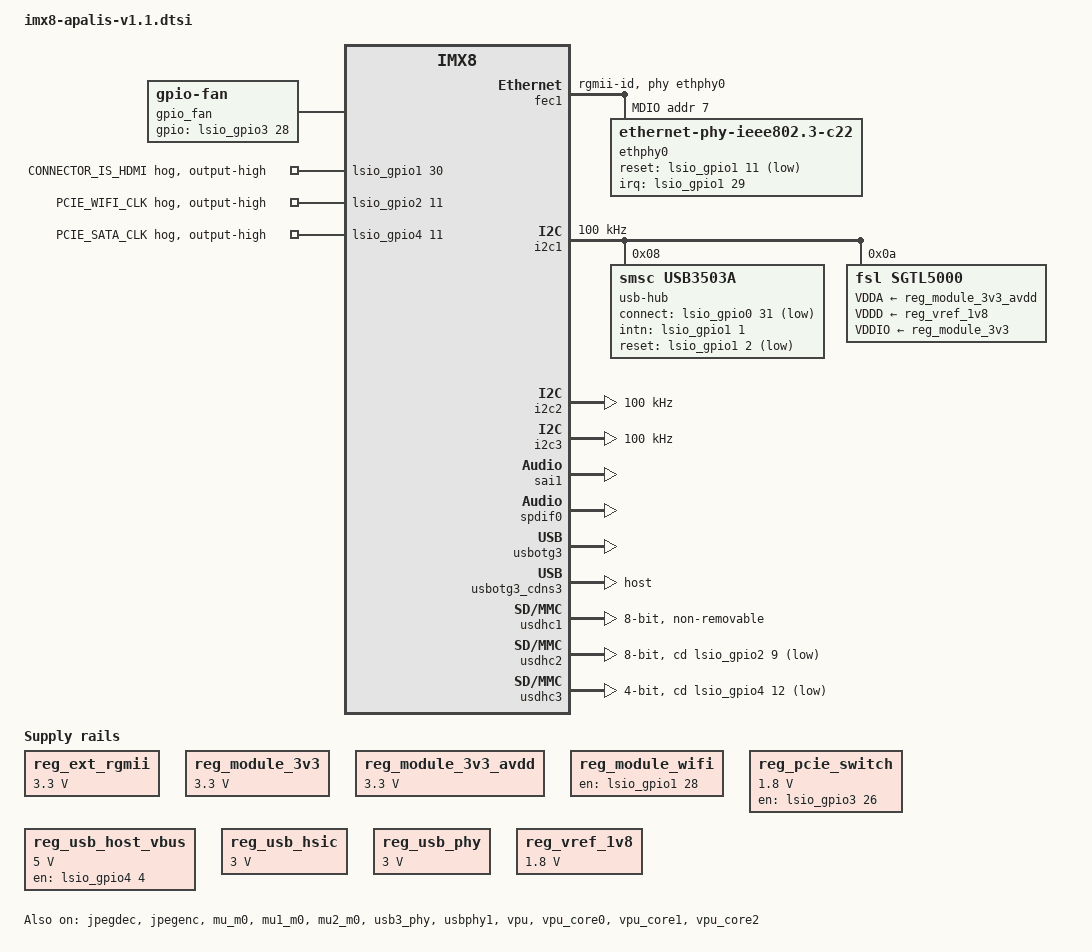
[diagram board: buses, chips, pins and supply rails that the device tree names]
// SPDX-License-Identifier: GPL-2.0-or-later OR MIT
/*
 * Copyright 2022 Toradex
 */

#include <dt-bindings/pwm/pwm.h>

/ {
	chosen {
		stdout-path = &lpuart1;
	};

	/* Apalis BKL1 */
	backlight: backlight {
		compatible = "pwm-backlight";
		pinctrl-names = "default";
		pinctrl-0 = <&pinctrl_gpio_bkl_on>;
		brightness-levels = <0 45 63 88 119 158 203 255>;
		default-brightness-level = <4>;
		enable-gpios = <&lsio_gpio1 4 GPIO_ACTIVE_HIGH>; /* Apalis BKL1_ON */
		/* TODO: hook-up to Apalis BKL1_PWM */
		status = "disabled";
	};

	gpio_fan: gpio-fan {
		compatible = "gpio-fan";
		pinctrl-names = "default";
		pinctrl-0 = <&pinctrl_gpio8>;
		gpios = <&lsio_gpio3 28 GPIO_ACTIVE_HIGH>;
		gpio-fan,speed-map = <	 0 0
				      3000 1>;
	};

	/* TODO: LVDS Panel */

	/* TODO: Shared PCIe/SATA Reference Clock */

	/* TODO: PCIe Wi-Fi Reference Clock */

	/*
	 * Power management bus used to control LDO1OUT of the
	 * second PMIC PF8100. This is used for controlling voltage levels of
	 * typespecific RGMII signals and Apalis UART2_RTS UART2_CTS.
	 *
	 * IMX_SC_R_BOARD_R1 for 3.3V
	 * IMX_SC_R_BOARD_R2 for 1.8V
	 * IMX_SC_R_BOARD_R3 for 2.5V
	 * Note that for 2.5V operation the pad muxing needs to be changed,
	 * compare with PSW_OVR field of IMX8QM_COMP_CTL_GPIO_1V8_3V3_ENET_ENETA_PAD.
	 *
	 * those power domains are mutually exclusive.
	 */
	reg_ext_rgmii: regulator-ext-rgmii {
		compatible = "regulator-fixed";
		power-domains = <&pd IMX_SC_R_BOARD_R1>;
		regulator-max-microvolt = <3300000>;
		regulator-min-microvolt = <3300000>;
		regulator-name = "VDD_EXT_RGMII (LDO1)";

		regulator-state-mem {
			regulator-off-in-suspend;
		};
	};

	reg_module_3v3: regulator-module-3v3 {
		compatible = "regulator-fixed";
		regulator-max-microvolt = <3300000>;
		regulator-min-microvolt = <3300000>;
		regulator-name = "+V3.3";
	};

	reg_module_3v3_avdd: regulator-module-3v3-avdd {
		compatible = "regulator-fixed";
		regulator-max-microvolt = <3300000>;
		regulator-min-microvolt = <3300000>;
		regulator-name = "+V3.3_AUDIO";
	};

	reg_module_wifi: regulator-module-wifi {
		compatible = "regulator-fixed";
		pinctrl-names = "default";
		pinctrl-0 = <&pinctrl_wifi_pdn>;
		gpio = <&lsio_gpio1 28 GPIO_ACTIVE_HIGH>;
		enable-active-high;
		regulator-always-on;
		regulator-name = "wifi_pwrdn_fake_regulator";
		regulator-settling-time-us = <100>;
	};

	reg_pcie_switch: regulator-pcie-switch {
		compatible = "regulator-fixed";
		pinctrl-names = "default";
		pinctrl-0 = <&pinctrl_gpio7>;
		gpio = <&lsio_gpio3 26 GPIO_ACTIVE_HIGH>;
		enable-active-high;
		regulator-max-microvolt = <1800000>;
		regulator-min-microvolt = <1800000>;
		regulator-name = "pcie_switch";
		startup-delay-us = <100000>;
	};

	reg_usb_host_vbus: regulator-usb-host-vbus {
		compatible = "regulator-fixed";
		pinctrl-names = "default";
		pinctrl-0 = <&pinctrl_usbh_en>;
		/* Apalis USBH_EN */
		gpio = <&lsio_gpio4 4 GPIO_ACTIVE_HIGH>;
		enable-active-high;
		regulator-always-on;
		regulator-max-microvolt = <5000000>;
		regulator-min-microvolt = <5000000>;
		regulator-name = "usb-host-vbus";
	};

	reg_usb_hsic: regulator-usb-hsic {
		compatible = "regulator-fixed";
		regulator-max-microvolt = <3000000>;
		regulator-min-microvolt = <3000000>;
		regulator-name = "usb-hsic-dummy";
	};

	reg_usb_phy: regulator-usb-hsic1 {
		compatible = "regulator-fixed";
		regulator-max-microvolt = <3000000>;
		regulator-min-microvolt = <3000000>;
		regulator-name = "usb-phy-dummy";
	};

	reg_vref_1v8: regulator-vref-1v8 {
		compatible = "regulator-fixed";
		regulator-name = "+V1.8";
		regulator-min-microvolt = <1800000>;
		regulator-max-microvolt = <1800000>;
	};

	reserved-memory {
		#address-cells = <2>;
		#size-cells = <2>;
		ranges;

		decoder_boot: decoder-boot@84000000 {
			reg = <0 0x84000000 0 0x2000000>;
			no-map;
		};

		encoder1_boot: encoder1-boot@86000000 {
			reg = <0 0x86000000 0 0x200000>;
			no-map;
		};

		encoder2_boot: encoder2-boot@86200000 {
			reg = <0 0x86200000 0 0x200000>;
			no-map;
		};

		/*
		 * reserved-memory layout
		 * 0x8800_0000 ~ 0x8FFF_FFFF is reserved for M4
		 * Shouldn't be used at A core and Linux side.
		 *
		 */
		m4_reserved: m4@88000000 {
			reg = <0 0x88000000 0 0x8000000>;
			no-map;
		};

		rpmsg_reserved: rpmsg@90200000 {
			reg = <0 0x90200000 0 0x200000>;
			no-map;
		};

		vdevbuffer: vdevbuffer@90400000 {
			compatible = "shared-dma-pool";
			reg = <0 0x90400000 0 0x100000>;
			no-map;
		};

		decoder_rpc: decoder-rpc@92000000 {
			reg = <0 0x92000000 0 0x200000>;
			no-map;
		};

		dsp_reserved: dsp@92400000 {
			reg = <0 0x92400000 0 0x2000000>;
			no-map;
		};

		encoder1_rpc: encoder1-rpc@94400000 {
			reg = <0 0x94400000 0 0x700000>;
			no-map;
		};

		encoder2_rpc: encoder2-rpc@94b00000 {
			reg = <0 0x94b00000 0 0x700000>;
			no-map;
		};

		/* global autoconfigured region for contiguous allocations */
		linux,cma {
			compatible = "shared-dma-pool";
			alloc-ranges = <0 0xc0000000 0 0x3c000000>;
			linux,cma-default;
			reusable;
			size = <0 0x3c000000>;
		};
	};

	sound {
		compatible = "simple-audio-card";
		simple-audio-card,bitclock-master = <&dailink_master>;
		simple-audio-card,format = "i2s";
		simple-audio-card,frame-master = <&dailink_master>;
		simple-audio-card,name = "apalis-imx8qm";

		simple-audio-card,cpu {
			sound-dai = <&sai1>;
		};

		dailink_master: simple-audio-card,codec {
			sound-dai = <&sgtl5000>;
		};
	};

	/* TODO: HDMI Audio */

	/* Apalis SPDIF1 */
	sound-spdif {
		compatible = "fsl,imx-audio-spdif";
		model = "imx-spdif";
		spdif-controller = <&spdif0>;
		spdif-in;
		spdif-out;
	};

	touchscreen: touchscreen {
		compatible = "toradex,vf50-touchscreen";
		interrupt-parent = <&lsio_gpio3>;
		interrupts = <22 IRQ_TYPE_LEVEL_LOW>;
		pinctrl-names = "idle", "default";
		pinctrl-0 = <&pinctrl_touchctrl_idle>, <&pinctrl_touchctrl_gpios>;
		pinctrl-1 = <&pinctrl_adc1>, <&pinctrl_touchctrl_gpios>;
		io-channels = <&adc1 2>, <&adc1 1>,
			      <&adc1 0>, <&adc1 3>;
		vf50-ts-min-pressure = <200>;
		xp-gpios = <&lsio_gpio2 4 GPIO_ACTIVE_LOW>;
		xm-gpios = <&lsio_gpio2 5 GPIO_ACTIVE_HIGH>;
		yp-gpios = <&lsio_gpio2 17 GPIO_ACTIVE_LOW>;
		ym-gpios = <&lsio_gpio2 21 GPIO_ACTIVE_HIGH>;
		/*
		 * NOTE: you must remove the pinctrl-adc1 from the adc1
		 * node below to use the touchscreen
		 */
		status = "disabled";
	};

};

&asrc0 {
	fsl,asrc-rate  = <48000>;
};

&adc0 {
	pinctrl-names = "default";
	pinctrl-0 = <&pinctrl_adc0>;
};

&adc1 {
	pinctrl-names = "default";
	pinctrl-0 = <&pinctrl_adc1>;
};

/* TODO: Asynchronous Sample Rate Converter (ASRC) */

&cpu_alert0 {
	temperature = <95000>;
};

&cpu_alert1 {
	temperature = <95000>;
};

&cpu_crit0 {
	temperature = <105000>;
};

&cpu_crit1 {
	temperature = <105000>;
};

&drc_alert0 {
	temperature = <95000>;
};

&drc_crit0 {
	temperature = <105000>;
};

/* Apalis ETH1 */
&fec1 {
	pinctrl-names = "default", "sleep";
	pinctrl-0 = <&pinctrl_fec1>;
	pinctrl-1 = <&pinctrl_fec1_sleep>;
	fsl,magic-packet;
	phy-handle = <&ethphy0>;
	phy-mode = "rgmii-id";

	mdio {
		#address-cells = <1>;
		#size-cells = <0>;

		ethphy0: ethernet-phy@7 {
			compatible = "ethernet-phy-ieee802.3-c22";
			reg = <7>;
			interrupt-parent = <&lsio_gpio1>;
			interrupts = <29 IRQ_TYPE_LEVEL_LOW>;
			micrel,led-mode = <0>;
			reset-assert-us = <2>;
			reset-deassert-us = <2>;
			reset-gpios = <&lsio_gpio1 11 GPIO_ACTIVE_LOW>;
		};
	};
};

/* Apalis CAN1 */
&flexcan1 {
	pinctrl-names = "default";
	pinctrl-0 = <&pinctrl_flexcan1>;
};

/* Apalis CAN2 */
&flexcan2 {
	pinctrl-names = "default";
	pinctrl-0 = <&pinctrl_flexcan2>;
};

/* Apalis CAN3 (optional) */
&flexcan3 {
	pinctrl-names = "default";
	pinctrl-0 = <&pinctrl_flexcan3>;
};

/* TODO: Apalis HDMI1 */

&gpu_alert0 {
	temperature = <95000>;
};

&gpu_alert1 {
	temperature = <95000>;
};

&gpu_crit0 {
	temperature = <105000>;
};

&gpu_crit1 {
	temperature = <105000>;
};

/* On-module I2C */
&i2c1 {
	pinctrl-names = "default";
	pinctrl-0 = <&pinctrl_lpi2c1>;
	#address-cells = <1>;
	#size-cells = <0>;
	clock-frequency = <100000>;
	status = "okay";

	/* USB3503A */
	usb-hub@8 {
		compatible = "smsc,usb3503a";
		reg = <0x08>;
		pinctrl-names = "default";
		pinctrl-0 = <&pinctrl_usb3503a>;
		connect-gpios = <&lsio_gpio0 31 GPIO_ACTIVE_LOW>;
		initial-mode = <1>;
		intn-gpios = <&lsio_gpio1 1 GPIO_ACTIVE_HIGH>;
		refclk-frequency = <25000000>;
		reset-gpios = <&lsio_gpio1 2 GPIO_ACTIVE_LOW>;
	};
	
	/* On Module Audio Codec */
	sgtl5000: audio-codec@a {
		compatible = "fsl,sgtl5000";
		reg = <0x0a>;
		assigned-clocks = <&clk IMX_SC_R_AUDIO_PLL_0 IMX_SC_PM_CLK_PLL>,
				  <&clk IMX_SC_R_AUDIO_PLL_0 IMX_SC_PM_CLK_SLV_BUS>,
				  <&clk IMX_SC_R_AUDIO_PLL_0 IMX_SC_PM_CLK_MST_BUS>,
				  <&mclkout0_lpcg IMX_LPCG_CLK_0>;
		assigned-clock-rates = <786432000>, <49152000>, <12288000>, <12288000>;
		clocks = <&mclkout0_lpcg IMX_LPCG_CLK_0>;
		pinctrl-names = "default";
		pinctrl-0 = <&pinctrl_sgtl5000>;
		#sound-dai-cells = <0>;
		VDDA-supply = <&reg_module_3v3_avdd>;
		VDDD-supply = <&reg_vref_1v8>;
		VDDIO-supply = <&reg_module_3v3>;
	};
};

/* Apalis I2C1 */
&i2c2 {
	pinctrl-names = "default";
	pinctrl-0 = <&pinctrl_lpi2c2>;
	#address-cells = <1>;
	#size-cells = <0>;
	clock-frequency = <100000>;

	atmel_mxt_ts: touch@4a {
		compatible = "atmel,maxtouch";
		reg = <0x4a>;
		interrupt-parent = <&lsio_gpio4>;
		interrupts = <1 IRQ_TYPE_EDGE_FALLING>;		/* Apalis GPIO5 */
		pinctrl-names = "default";
		pinctrl-0 = <&pinctrl_gpio5>, <&pinctrl_gpio6>;
		reset-gpios = <&lsio_gpio4 2 GPIO_ACTIVE_LOW>;	/* Apalis GPIO6 */
		status = "disabled";
	};

	/* M41T0M6 real time clock on carrier board */
	rtc_i2c: rtc@68 {
		compatible = "st,m41t0";
		reg = <0x68>;
		status = "disabled";
	};
};

/* Apalis I2C3 (CAM) */
&i2c3 {
	pinctrl-names = "default";
	pinctrl-0 = <&pinctrl_lpi2c3>;
	#address-cells = <1>;
	#size-cells = <0>;
	clock-frequency = <100000>;
};

&jpegdec {
	status = "okay";
};

&jpegenc {
	status = "okay";
};

/* TODO: Apalis LVDS1 */

/* Apalis SPI1 */
&lpspi0 {
	pinctrl-names = "default";
	pinctrl-0 = <&pinctrl_lpspi0>;
	#address-cells = <1>;
	#size-cells = <0>;
	cs-gpios = <&lsio_gpio3 5 GPIO_ACTIVE_LOW>;
};

/* Apalis SPI2 */
&lpspi2 {
	pinctrl-names = "default";
	pinctrl-0 = <&pinctrl_lpspi2>;
	#address-cells = <1>;
	#size-cells = <0>;
	cs-gpios = <&lsio_gpio3 10 GPIO_ACTIVE_LOW>;
};

/* Apalis UART3 */
&lpuart0 {
	pinctrl-names = "default";
	pinctrl-0 = <&pinctrl_lpuart0>;
};

/* Apalis UART1 */
&lpuart1 {
	pinctrl-names = "default";
	pinctrl-0 = <&pinctrl_lpuart1>;
};

/* Apalis UART4 */
&lpuart2 {
	pinctrl-names = "default";
	pinctrl-0 = <&pinctrl_lpuart2>;
};

/* Apalis UART2 */
&lpuart3 {
	pinctrl-names = "default";
	pinctrl-0 = <&pinctrl_lpuart3>;
};

&lsio_gpio0 {
	gpio-line-names = "MXM3_279",
			  "MXM3_277",
			  "MXM3_135",
			  "MXM3_203",
			  "MXM3_201",
			  "MXM3_275",
			  "MXM3_110",
			  "MXM3_120",
			  "MXM3_1/GPIO1",
			  "MXM3_3/GPIO2",
			  "MXM3_124",
			  "MXM3_122",
			  "MXM3_5/GPIO3",
			  "MXM3_7/GPIO4",
			  "",
			  "",
			  "MXM3_4",
			  "MXM3_211",
			  "MXM3_209",
			  "MXM3_2",
			  "MXM3_136",
			  "MXM3_134",
			  "MXM3_6",
			  "MXM3_8",
			  "MXM3_112",
			  "MXM3_118",
			  "MXM3_114",
			  "MXM3_116";
};

&lsio_gpio1 {
	gpio-line-names = "",
			  "",
			  "",
			  "",
			  "MXM3_286",
			  "",
			  "MXM3_87",
			  "MXM3_99",
			  "MXM3_138",
			  "MXM3_140",
			  "MXM3_239",
			  "",
			  "MXM3_281",
			  "MXM3_283",
			  "MXM3_126",
			  "MXM3_132",
			  "",
			  "",
			  "",
			  "",
			  "MXM3_173",
			  "MXM3_175",
			  "MXM3_123";

	hdmi-ctrl-hog {
		pinctrl-names = "default";
		pinctrl-0 = <&pinctrl_hdmi_ctrl>;
		gpio-hog;
		gpios = <30 GPIO_ACTIVE_HIGH>;
		line-name = "CONNECTOR_IS_HDMI";
		/* Set signals depending on HDP device type, 0 DP, 1 HDMI */
		output-high;
	};
};

&lsio_gpio2 {
	gpio-line-names = "",
			  "",
			  "",
			  "",
			  "",
			  "",
			  "",
			  "MXM3_198",
			  "MXM3_35",
			  "MXM3_164",
			  "",
			  "",
			  "",
			  "",
			  "MXM3_217",
			  "MXM3_215",
			  "",
			  "",
			  "MXM3_193",
			  "MXM3_194",
			  "MXM3_37",
			  "",
			  "MXM3_271",
			  "MXM3_273",
			  "MXM3_195",
			  "MXM3_197",
			  "MXM3_177",
			  "MXM3_179",
			  "MXM3_181",
			  "MXM3_183",
			  "MXM3_185",
			  "MXM3_187";

	pcie-wifi-hog {
		pinctrl-names = "default";
		pinctrl-0 = <&pinctrl_pcie_wifi_refclk>;
		gpio-hog;
		gpios = <11 GPIO_ACTIVE_HIGH>;
		line-name = "PCIE_WIFI_CLK";
		output-high;
	};
};

&lsio_gpio3 {
	gpio-line-names = "MXM3_191",
			  "",
			  "MXM3_221",
			  "MXM3_225",
			  "MXM3_223",
			  "MXM3_227",
			  "MXM3_200",
			  "MXM3_235",
			  "MXM3_231",
			  "MXM3_229",
			  "MXM3_233",
			  "MXM3_204",
			  "MXM3_196",
			  "",
			  "MXM3_202",
			  "",
			  "",
			  "",
			  "MXM3_305",
			  "MXM3_307",
			  "MXM3_309",
			  "MXM3_311",
			  "MXM3_315",
			  "MXM3_317",
			  "MXM3_319",
			  "MXM3_321",
			  "MXM3_15/GPIO7",
			  "MXM3_63",
			  "MXM3_17/GPIO8",
			  "MXM3_12",
			  "MXM3_14",
			  "MXM3_16";
};

&lsio_gpio4 {
	gpio-line-names = "MXM3_18",
			  "MXM3_11/GPIO5",
			  "MXM3_13/GPIO6",
			  "MXM3_274",
			  "MXM3_84",
			  "MXM3_262",
			  "MXM3_96",
			  "",
			  "",
			  "",
			  "",
			  "",
			  "MXM3_190",
			  "",
			  "",
			  "",
			  "MXM3_269",
			  "MXM3_251",
			  "MXM3_253",
			  "MXM3_295",
			  "MXM3_299",
			  "MXM3_301",
			  "MXM3_297",
			  "MXM3_293",
			  "MXM3_291",
			  "MXM3_289",
			  "MXM3_287";

	/* Enable pcie root / sata ref clock unconditionally */
	pcie-sata-hog {
		pinctrl-names = "default";
		pinctrl-0 = <&pinctrl_pcie_sata_refclk>;
		gpio-hog;
		gpios = <11 GPIO_ACTIVE_HIGH>;
		line-name = "PCIE_SATA_CLK";
		output-high;
	};
};

&lsio_gpio5 {
	gpio-line-names = "",
			  "",
			  "",
			  "",
			  "",
			  "",
			  "",
			  "",
			  "",
			  "",
			  "",
			  "",
			  "",
			  "",
			  "MXM3_150",
			  "MXM3_160",
			  "MXM3_162",
			  "MXM3_144",
			  "MXM3_146",
			  "MXM3_148",
			  "MXM3_152",
			  "MXM3_156",
			  "MXM3_158",
			  "MXM3_159",
			  "MXM3_184",
			  "MXM3_180",
			  "MXM3_186",
			  "MXM3_188",
			  "MXM3_176",
			  "MXM3_178";
};

&lsio_gpio6 {
	gpio-line-names = "",
			  "",
			  "",
			  "",
			  "",
			  "",
			  "",
			  "",
			  "",
			  "",
			  "MXM3_261",
			  "MXM3_263",
			  "MXM3_259",
			  "MXM3_257",
			  "MXM3_255",
			  "MXM3_128",
			  "MXM3_130",
			  "MXM3_265",
			  "MXM3_249",
			  "MXM3_247",
			  "MXM3_245",
			  "MXM3_243";
};

/* Apalis PWM3, MXM3 pin 6 */
&lsio_pwm0 {
	pinctrl-names = "default";
	pinctrl-0 = <&pinctrl_pwm0>;
	#pwm-cells = <3>;
};

/* Apalis PWM4, MXM3 pin 8 */
&lsio_pwm1 {
	pinctrl-names = "default";
	pinctrl-0 = <&pinctrl_pwm1>;
	#pwm-cells = <3>;
};

/* Apalis PWM1, MXM3 pin 2 */
&lsio_pwm2 {
	pinctrl-names = "default";
	pinctrl-0 = <&pinctrl_pwm2>;
	#pwm-cells = <3>;
};

/* Apalis PWM2, MXM3 pin 4 */
&lsio_pwm3 {
	pinctrl-names = "default";
	pinctrl-0 = <&pinctrl_pwm3>;
	#pwm-cells = <3>;
};

/* Messaging Units */
&mu_m0 {
	status = "okay";
};

&mu1_m0 {
	status = "okay";
};

&mu2_m0 {
	status = "okay";
};

/* TODO: Apalis PCIE1 */

/* TODO: On-module Wi-Fi */

/* TODO: Apalis BKL1_PWM */

/* Apalis DAP1 */
&sai1 {
	assigned-clocks = <&clk IMX_SC_R_AUDIO_PLL_0 IMX_SC_PM_CLK_PLL>,
			  <&clk IMX_SC_R_AUDIO_PLL_0 IMX_SC_PM_CLK_SLV_BUS>,
			  <&clk IMX_SC_R_AUDIO_PLL_0 IMX_SC_PM_CLK_MST_BUS>,
			  <&sai1_lpcg IMX_LPCG_CLK_0>;
	assigned-clock-rates = <786432000>, <49152000>, <12288000>, <49152000>;
	pinctrl-names = "default";
	pinctrl-0 = <&pinctrl_sai1>;
	#sound-dai-cells = <0>;
	status = "okay";
};

/* TODO: Apalis SATA1 */

/* Apalis SPDIF1 */
&spdif0 {
	assigned-clocks = <&clk IMX_SC_R_AUDIO_PLL_0 IMX_SC_PM_CLK_PLL>,
			  <&clk IMX_SC_R_AUDIO_PLL_0 IMX_SC_PM_CLK_SLV_BUS>,
			  <&clk IMX_SC_R_AUDIO_PLL_0 IMX_SC_PM_CLK_MST_BUS>;
	assigned-clock-rates = <786432000>, <49152000>, <12288000>;
	pinctrl-names = "default";
	pinctrl-0 = <&pinctrl_spdif0>;
	status = "okay";
};

/* TODO: Thermal Zones */

/* TODO: Apalis USBH2, Apalis USBH3 and on-module Wi-Fi via on-module HSIC Hub */

/* Apalis USBH4 */
&usb3_phy {
	status = "okay";
};

&usbotg3 {
	status = "okay";
};

&usbotg3_cdns3 {
	dr_mode = "host";
};

/* Apalis USBO1 */
&usbphy1 {
	phy-3p0-supply = <&reg_usb_phy>;
	status = "okay";
};

&usbotg1 {
	pinctrl-names = "default";
	pinctrl-0 = <&pinctrl_usbotg1>;
	adp-disable;
	hnp-disable;
	over-current-active-low;
	power-active-high;
	srp-disable;
};

/* On-module eMMC */
&usdhc1 {
	pinctrl-names = "default", "state_100mhz", "state_200mhz";
	pinctrl-0 = <&pinctrl_usdhc1>;
	pinctrl-1 = <&pinctrl_usdhc1_100mhz>;
	pinctrl-2 = <&pinctrl_usdhc1_200mhz>;
	bus-width = <8>;
	non-removable;
	status = "okay";
};

/* Apalis MMC1 */
&usdhc2 {
	pinctrl-names = "default", "state_100mhz", "state_200mhz", "sleep";
	pinctrl-0 = <&pinctrl_usdhc2_4bit>,
		    <&pinctrl_usdhc2_8bit>,
		    <&pinctrl_mmc1_cd>;
	pinctrl-1 = <&pinctrl_usdhc2_4bit_100mhz>,
		    <&pinctrl_usdhc2_8bit_100mhz>,
		    <&pinctrl_mmc1_cd>;
	pinctrl-2 = <&pinctrl_usdhc2_4bit_200mhz>,
		    <&pinctrl_usdhc2_8bit_200mhz>,
		    <&pinctrl_mmc1_cd>;
	pinctrl-3 = <&pinctrl_usdhc2_4bit_sleep>,
		    <&pinctrl_usdhc2_8bit_sleep>,
		    <&pinctrl_mmc1_cd_sleep>;
	bus-width = <8>;
	cd-gpios = <&lsio_gpio2 9 GPIO_ACTIVE_LOW>; /* Apalis MMC1_CD# */
	no-1-8-v;
};

/* Apalis SD1 */
&usdhc3 {
	pinctrl-names = "default", "state_100mhz", "state_200mhz";
	pinctrl-0 = <&pinctrl_usdhc3>, <&pinctrl_sd1_cd>;
	pinctrl-1 = <&pinctrl_usdhc3_100mhz>, <&pinctrl_sd1_cd>;
	pinctrl-2 = <&pinctrl_usdhc3_200mhz>, <&pinctrl_sd1_cd>;
	bus-width = <4>;
	cd-gpios = <&lsio_gpio4 12 GPIO_ACTIVE_LOW>; /* Apalis SD1_CD# */
	no-1-8-v;
};

/* Video Processing Unit */
&vpu {
	compatible = "nxp,imx8qm-vpu";
	status = "okay";
};

&vpu_core0 {
	reg = <0x2d080000 0x10000>;
	memory-region = <&decoder_boot>, <&decoder_rpc>;
	status = "okay";
};

&vpu_core1 {
	reg = <0x2d090000 0x10000>;
	memory-region = <&encoder1_boot>, <&encoder1_rpc>;
	status = "okay";
};

&vpu_core2 {
	reg = <0x2d0a0000 0x10000>;
	memory-region = <&encoder2_boot>, <&encoder2_rpc>;
	status = "okay";
};

&iomuxc {
	pinctrl-names = "default";
	pinctrl-0 = <&pinctrl_cam1_gpios>, <&pinctrl_dap1_gpios>,
		    <&pinctrl_esai0_gpios>, <&pinctrl_fec2_gpios>,
		    <&pinctrl_gpio3>, <&pinctrl_gpio4>, <&pinctrl_gpio_keys>,
		    <&pinctrl_gpio_usbh_oc_n>, <&pinctrl_lpuart1ctrl>,
		    <&pinctrl_lvds0_i2c0_gpio>, <&pinctrl_lvds1_i2c0_gpios>,
		    <&pinctrl_mipi_dsi_0_1_en>, <&pinctrl_mipi_dsi1_gpios>,
		    <&pinctrl_mlb_gpios>, <&pinctrl_qspi1a_gpios>,
		    <&pinctrl_sata1_act>, <&pinctrl_sim0_gpios>,
		    <&pinctrl_usdhc1_gpios>;

	/* Apalis AN1_ADC */
	pinctrl_adc0: adc0grp {
		fsl,pins = /* Apalis AN1_ADC0 */
			   <IMX8QM_ADC_IN0_DMA_ADC0_IN0				0xc0000060>,
			   /* Apalis AN1_ADC1 */
			   <IMX8QM_ADC_IN1_DMA_ADC0_IN1				0xc0000060>,
			   /* Apalis AN1_ADC2 */
			   <IMX8QM_ADC_IN2_DMA_ADC0_IN2				0xc0000060>,
			   /* Apalis AN1_TSWIP_ADC3 */
			   <IMX8QM_ADC_IN3_DMA_ADC0_IN3				0xc0000060>;
	};

	/* Apalis AN1_TS */
	pinctrl_adc1: adc1grp {
		fsl,pins = /* Apalis AN1_TSPX */
			   <IMX8QM_ADC_IN4_DMA_ADC1_IN0				0xc0000060>,
			   /* Apalis AN1_TSMX */
			   <IMX8QM_ADC_IN5_DMA_ADC1_IN1				0xc0000060>,
			   /* Apalis AN1_TSPY */
			   <IMX8QM_ADC_IN6_DMA_ADC1_IN2				0xc0000060>,
			   /* Apalis AN1_TSMY */
			   <IMX8QM_ADC_IN7_DMA_ADC1_IN3				0xc0000060>;
	};

	/* Apalis CAM1 */
	pinctrl_cam1_gpios: cam1gpiosgrp {
		fsl,pins = /* Apalis CAM1_D7 */
			   <IMX8QM_MIPI_DSI1_I2C0_SCL_LSIO_GPIO1_IO20		0x00000021>,
			   /* Apalis CAM1_D6 */
			   <IMX8QM_MIPI_DSI1_I2C0_SDA_LSIO_GPIO1_IO21		0x00000021>,
			   /* Apalis CAM1_D5 */
			   <IMX8QM_ESAI0_TX0_LSIO_GPIO2_IO26			0x00000021>,
			   /* Apalis CAM1_D4 */
			   <IMX8QM_ESAI0_TX1_LSIO_GPIO2_IO27			0x00000021>,
			   /* Apalis CAM1_D3 */
			   <IMX8QM_ESAI0_TX2_RX3_LSIO_GPIO2_IO28		0x00000021>,
			   /* Apalis CAM1_D2 */
			   <IMX8QM_ESAI0_TX3_RX2_LSIO_GPIO2_IO29		0x00000021>,
			   /* Apalis CAM1_D1 */
			   <IMX8QM_ESAI0_TX4_RX1_LSIO_GPIO2_IO30		0x00000021>,
			   /* Apalis CAM1_D0 */
			   <IMX8QM_ESAI0_TX5_RX0_LSIO_GPIO2_IO31		0x00000021>,
			   /* Apalis CAM1_PCLK */
			   <IMX8QM_MCLK_IN0_LSIO_GPIO3_IO00			0x00000021>,
			   /* Apalis CAM1_MCLK */
			   <IMX8QM_SPI3_SDO_LSIO_GPIO2_IO18			0x00000021>,
			   /* Apalis CAM1_VSYNC */
			   <IMX8QM_ESAI0_SCKR_LSIO_GPIO2_IO24			0x00000021>,
			   /* Apalis CAM1_HSYNC */
			   <IMX8QM_ESAI0_SCKT_LSIO_GPIO2_IO25			0x00000021>;
	};

	/* Apalis DAP1 */
	pinctrl_dap1_gpios: dap1gpiosgrp {
		fsl,pins = /* Apalis DAP1_MCLK */
			   <IMX8QM_SPI3_SDI_LSIO_GPIO2_IO19			0x00000021>,
			   /* Apalis DAP1_D_OUT */
			   <IMX8QM_SAI1_RXC_LSIO_GPIO3_IO12			0x00000021>,
			   /* Apalis DAP1_RESET */
			   <IMX8QM_ESAI1_SCKT_LSIO_GPIO2_IO07			0x00000021>,
			   /* Apalis DAP1_BIT_CLK */
			   <IMX8QM_SPI0_CS1_LSIO_GPIO3_IO06			0x00000021>,
			   /* Apalis DAP1_D_IN */
			   <IMX8QM_SAI1_RXFS_LSIO_GPIO3_IO14			0x00000021>,
			   /* Apalis DAP1_SYNC */
			   <IMX8QM_SPI2_CS1_LSIO_GPIO3_IO11			0x00000021>,
			   /* On-module Wi-Fi_I2S_EN# */
			   <IMX8QM_ESAI1_TX5_RX0_LSIO_GPIO2_IO13		0x00000021>;
	};

	/* Apalis LCD1_G1+2 */
	pinctrl_esai0_gpios: esai0gpiosgrp {
		fsl,pins = /* Apalis LCD1_G1 */
			   <IMX8QM_ESAI0_FSR_LSIO_GPIO2_IO22			0x00000021>,
			   /* Apalis LCD1_G2 */
			   <IMX8QM_ESAI0_FST_LSIO_GPIO2_IO23			0x00000021>;
	};

	/* On-module Gigabit Ethernet PHY Micrel KSZ9031 for Apalis GLAN */
	pinctrl_fec1: fec1grp {
		fsl,pins = /* Use pads in 3.3V mode */
			   <IMX8QM_COMP_CTL_GPIO_1V8_3V3_ENET_ENETB_PAD			0x000014a0>,
			   <IMX8QM_ENET0_MDC_CONN_ENET0_MDC				0x06000020>,
			   <IMX8QM_ENET0_MDIO_CONN_ENET0_MDIO				0x06000020>,
			   <IMX8QM_ENET0_RGMII_TX_CTL_CONN_ENET0_RGMII_TX_CTL		0x06000020>,
			   <IMX8QM_ENET0_RGMII_TXC_CONN_ENET0_RGMII_TXC			0x06000020>,
			   <IMX8QM_ENET0_RGMII_TXD0_CONN_ENET0_RGMII_TXD0		0x06000020>,
			   <IMX8QM_ENET0_RGMII_TXD1_CONN_ENET0_RGMII_TXD1		0x06000020>,
			   <IMX8QM_ENET0_RGMII_TXD2_CONN_ENET0_RGMII_TXD2		0x06000020>,
			   <IMX8QM_ENET0_RGMII_TXD3_CONN_ENET0_RGMII_TXD3		0x06000020>,
			   <IMX8QM_ENET0_RGMII_RXC_CONN_ENET0_RGMII_RXC			0x06000020>,
			   <IMX8QM_ENET0_RGMII_RX_CTL_CONN_ENET0_RGMII_RX_CTL		0x06000020>,
			   <IMX8QM_ENET0_RGMII_RXD0_CONN_ENET0_RGMII_RXD0		0x06000020>,
			   <IMX8QM_ENET0_RGMII_RXD1_CONN_ENET0_RGMII_RXD1		0x06000020>,
			   <IMX8QM_ENET0_RGMII_RXD2_CONN_ENET0_RGMII_RXD2		0x06000020>,
			   <IMX8QM_ENET0_RGMII_RXD3_CONN_ENET0_RGMII_RXD3		0x06000020>,
			   <IMX8QM_ENET0_REFCLK_125M_25M_CONN_ENET0_REFCLK_125M_25M	0x06000020>,
			   /* On-module ETH_RESET# */
			   <IMX8QM_LVDS1_GPIO01_LSIO_GPIO1_IO11				0x06000020>,
			   /* On-module ETH_INT# */
			   <IMX8QM_MIPI_CSI1_MCLK_OUT_LSIO_GPIO1_IO29			0x04000060>;
	};

	pinctrl_fec1_sleep: fec1-sleepgrp {
		fsl,pins = <IMX8QM_COMP_CTL_GPIO_1V8_3V3_ENET_ENETB_PAD		0x000014a0>,
			   <IMX8QM_ENET0_MDC_LSIO_GPIO4_IO14			0x04000040>,
			   <IMX8QM_ENET0_MDIO_LSIO_GPIO4_IO13			0x04000040>,
			   <IMX8QM_ENET0_RGMII_TX_CTL_LSIO_GPIO5_IO31		0x04000040>,
			   <IMX8QM_ENET0_RGMII_TXC_LSIO_GPIO5_IO30		0x04000040>,
			   <IMX8QM_ENET0_RGMII_TXD0_LSIO_GPIO6_IO00		0x04000040>,
			   <IMX8QM_ENET0_RGMII_TXD1_LSIO_GPIO6_IO01		0x04000040>,
			   <IMX8QM_ENET0_RGMII_TXD2_LSIO_GPIO6_IO02		0x04000040>,
			   <IMX8QM_ENET0_RGMII_TXD3_LSIO_GPIO6_IO03		0x04000040>,
			   <IMX8QM_ENET0_RGMII_RXC_LSIO_GPIO6_IO04		0x04000040>,
			   <IMX8QM_ENET0_RGMII_RX_CTL_LSIO_GPIO6_IO05		0x04000040>,
			   <IMX8QM_ENET0_RGMII_RXD0_LSIO_GPIO6_IO06		0x04000040>,
			   <IMX8QM_ENET0_RGMII_RXD1_LSIO_GPIO6_IO07		0x04000040>,
			   <IMX8QM_ENET0_RGMII_RXD2_LSIO_GPIO6_IO08		0x04000040>,
			   <IMX8QM_ENET0_RGMII_RXD3_LSIO_GPIO6_IO09		0x04000040>,
			   <IMX8QM_ENET0_REFCLK_125M_25M_LSIO_GPIO4_IO15	0x04000040>,
			   <IMX8QM_LVDS1_GPIO01_LSIO_GPIO1_IO11			0x06000020>,
			   <IMX8QM_MIPI_CSI1_MCLK_OUT_LSIO_GPIO1_IO29		0x04000040>;
	};

	/* Apalis LCD1_ */
	pinctrl_fec2_gpios: fec2gpiosgrp {
		fsl,pins = <IMX8QM_COMP_CTL_GPIO_1V8_3V3_ENET_ENETA_PAD		0x000014a0>,
			   /* Apalis LCD1_R1 */
			   <IMX8QM_ENET1_MDC_LSIO_GPIO4_IO18			0x00000021>,
			   /* Apalis LCD1_R0 */
			   <IMX8QM_ENET1_MDIO_LSIO_GPIO4_IO17			0x00000021>,
			   /* Apalis LCD1_G0 */
			   <IMX8QM_ENET1_REFCLK_125M_25M_LSIO_GPIO4_IO16	0x00000021>,
			   /* Apalis LCD1_R7 */
			   <IMX8QM_ENET1_RGMII_RX_CTL_LSIO_GPIO6_IO17		0x00000021>,
			   /* Apalis LCD1_DE */
			   <IMX8QM_ENET1_RGMII_RXD0_LSIO_GPIO6_IO18		0x00000021>,
			   /* Apalis LCD1_HSYNC */
			   <IMX8QM_ENET1_RGMII_RXD1_LSIO_GPIO6_IO19		0x00000021>,
			   /* Apalis LCD1_VSYNC */
			   <IMX8QM_ENET1_RGMII_RXD2_LSIO_GPIO6_IO20		0x00000021>,
			   /* Apalis LCD1_PCLK */
			   <IMX8QM_ENET1_RGMII_RXD3_LSIO_GPIO6_IO21		0x00000021>,
			   /* Apalis LCD1_R6 */
			   <IMX8QM_ENET1_RGMII_TX_CTL_LSIO_GPIO6_IO11		0x00000021>,
			   /* Apalis LCD1_R5 */
			   <IMX8QM_ENET1_RGMII_TXC_LSIO_GPIO6_IO10		0x00000021>,
			   /* Apalis LCD1_R4 */
			   <IMX8QM_ENET1_RGMII_TXD0_LSIO_GPIO6_IO12		0x00000021>,
			   /* Apalis LCD1_R3 */
			   <IMX8QM_ENET1_RGMII_TXD1_LSIO_GPIO6_IO13		0x00000021>,
			   /* Apalis LCD1_R2 */
			   <IMX8QM_ENET1_RGMII_TXD2_LSIO_GPIO6_IO14		0x00000021>;
	};

	/* Apalis CAN1 */
	pinctrl_flexcan1: flexcan0grp {
		fsl,pins = <IMX8QM_FLEXCAN0_TX_DMA_FLEXCAN0_TX			0x00000021>,
			   <IMX8QM_FLEXCAN0_RX_DMA_FLEXCAN0_RX			0x00000021>;
	};

	/* Apalis CAN2 */
	pinctrl_flexcan2: flexcan1grp {
		fsl,pins = <IMX8QM_FLEXCAN1_TX_DMA_FLEXCAN1_TX			0x00000021>,
			   <IMX8QM_FLEXCAN1_RX_DMA_FLEXCAN1_RX			0x00000021>;
	};

	/* Apalis CAN3 (optional) */
	pinctrl_flexcan3: flexcan2grp {
		fsl,pins = <IMX8QM_FLEXCAN2_TX_DMA_FLEXCAN2_TX			0x00000021>,
			   <IMX8QM_FLEXCAN2_RX_DMA_FLEXCAN2_RX			0x00000021>;
	};

	/* Apalis GPIO1 */
	pinctrl_gpio1: gpio1grp {
		fsl,pins = <IMX8QM_M40_GPIO0_00_LSIO_GPIO0_IO08			0x06000021>;
	};

	/* Apalis GPIO2 */
	pinctrl_gpio2: gpio2grp {
		fsl,pins = <IMX8QM_M40_GPIO0_01_LSIO_GPIO0_IO09			0x06000021>;
	};

	/* Apalis GPIO3 */
	pinctrl_gpio3: gpio3grp {
		fsl,pins = <IMX8QM_M41_GPIO0_00_LSIO_GPIO0_IO12			0x06000021>;
	};

	/* Apalis GPIO4 */
	pinctrl_gpio4: gpio4grp {
		fsl,pins = <IMX8QM_M41_GPIO0_01_LSIO_GPIO0_IO13			0x06000021>;
	};

	/* Apalis GPIO5 */
	pinctrl_gpio5: gpio5grp {
		fsl,pins = <IMX8QM_FLEXCAN2_RX_LSIO_GPIO4_IO01			0x06000021>;
	};

	/* Apalis GPIO6 */
	pinctrl_gpio6: gpio6grp {
		fsl,pins = <IMX8QM_FLEXCAN2_TX_LSIO_GPIO4_IO02			0x00000021>;
	};

	/* Apalis GPIO7 */
	pinctrl_gpio7: gpio7grp {
		fsl,pins = <IMX8QM_MLB_SIG_LSIO_GPIO3_IO26			0x00000021>;
	};

	/* Apalis GPIO8 */
	pinctrl_gpio8: gpio8grp {
		fsl,pins = <IMX8QM_MLB_DATA_LSIO_GPIO3_IO28			0x00000021>;
	};

	/* Apalis BKL1_ON */
	pinctrl_gpio_bkl_on: gpiobklongrp {
		fsl,pins = <IMX8QM_LVDS0_GPIO00_LSIO_GPIO1_IO04			0x00000021>;
	};

	/* Apalis WAKE1_MICO */
	pinctrl_gpio_keys: gpiokeysgrp {
		fsl,pins = <IMX8QM_SPI3_CS0_LSIO_GPIO2_IO20			0x06700021>;
	};

	/* Apalis USBH_OC# */
	pinctrl_gpio_usbh_oc_n: gpiousbhocngrp {
		fsl,pins = <IMX8QM_USB_SS3_TC3_LSIO_GPIO4_IO06			0x04000021>;
	};

	/* On-module HDMI_CTRL */
	pinctrl_hdmi_ctrl: hdmictrlgrp {
		fsl,pins = <IMX8QM_MIPI_CSI1_GPIO0_00_LSIO_GPIO1_IO30		0x00000061>;
	};

	/* On-module I2C */
	pinctrl_lpi2c1: lpi2c1grp {
		fsl,pins = <IMX8QM_GPT0_CLK_DMA_I2C1_SCL			0x04000020>,
			   <IMX8QM_GPT0_CAPTURE_DMA_I2C1_SDA			0x04000020>;
	};

	/* Apalis I2C1 */
	pinctrl_lpi2c2: lpi2c2grp {
		fsl,pins = <IMX8QM_GPT1_CLK_DMA_I2C2_SCL			0x04000020>,
			   <IMX8QM_GPT1_CAPTURE_DMA_I2C2_SDA			0x04000020>;
	};

	/* Apalis I2C3 (CAM) */
	pinctrl_lpi2c3: lpi2c3grp {
		fsl,pins = <IMX8QM_SIM0_PD_DMA_I2C3_SCL				0x04000020>,
			   <IMX8QM_SIM0_POWER_EN_DMA_I2C3_SDA			0x04000020>;
	};

	/* Apalis SPI1 */
	pinctrl_lpspi0: lpspi0grp {
		fsl,pins = <IMX8QM_SPI0_SCK_DMA_SPI0_SCK			0x0600004c>,
			   <IMX8QM_SPI0_SDO_DMA_SPI0_SDO			0x0600004c>,
			   <IMX8QM_SPI0_SDI_DMA_SPI0_SDI			0x0600004c>,
			   <IMX8QM_SPI0_CS0_LSIO_GPIO3_IO05			0x0600004c>;
	};

	/* Apalis SPI2 */
	pinctrl_lpspi2: lpspi2grp {
		fsl,pins = <IMX8QM_SPI2_SCK_DMA_SPI2_SCK			0x0600004c>,
			   <IMX8QM_SPI2_SDO_DMA_SPI2_SDO			0x0600004c>,
			   <IMX8QM_SPI2_SDI_DMA_SPI2_SDI			0x0600004c>,
			   <IMX8QM_SPI2_CS0_LSIO_GPIO3_IO10			0x0600004c>;
	};

	/* Apalis UART3 */
	pinctrl_lpuart0: lpuart0grp {
		fsl,pins = <IMX8QM_UART0_RX_DMA_UART0_RX			0x06000020>,
			   <IMX8QM_UART0_TX_DMA_UART0_TX			0x06000020>;
	};

	/* Apalis UART1 */
	pinctrl_lpuart1: lpuart1grp {
		fsl,pins = <IMX8QM_UART1_RX_DMA_UART1_RX			0x06000020>,
			   <IMX8QM_UART1_TX_DMA_UART1_TX			0x06000020>,
			   <IMX8QM_UART1_CTS_B_DMA_UART1_CTS_B			0x06000020>,
			   <IMX8QM_UART1_RTS_B_DMA_UART1_RTS_B			0x06000020>;
	};

	/* Apalis UART1 */
	pinctrl_lpuart1ctrl: lpuart1ctrlgrp {
		fsl,pins = /* Apalis UART1_DTR */
			   <IMX8QM_M40_I2C0_SCL_LSIO_GPIO0_IO06			0x00000021>,
			   /* Apalis UART1_DSR */
			   <IMX8QM_M40_I2C0_SDA_LSIO_GPIO0_IO07			0x00000021>,
			   /* Apalis UART1_DCD */
			   <IMX8QM_M41_I2C0_SCL_LSIO_GPIO0_IO10			0x00000021>,
			   /* Apalis UART1_RI */
			   <IMX8QM_M41_I2C0_SDA_LSIO_GPIO0_IO11			0x00000021>;
	};

	/* Apalis UART4 */
	pinctrl_lpuart2: lpuart2grp {
		fsl,pins = <IMX8QM_LVDS0_I2C1_SCL_DMA_UART2_TX			0x06000020>,
			   <IMX8QM_LVDS0_I2C1_SDA_DMA_UART2_RX			0x06000020>;
	};

	/* Apalis UART2 */
	pinctrl_lpuart3: lpuart3grp {
		fsl,pins = <IMX8QM_LVDS1_I2C1_SCL_DMA_UART3_TX			0x06000020>,
			   <IMX8QM_LVDS1_I2C1_SDA_DMA_UART3_RX			0x06000020>,
			   <IMX8QM_ENET1_RGMII_TXD3_DMA_UART3_RTS_B		0x06000020>,
			   <IMX8QM_ENET1_RGMII_RXC_DMA_UART3_CTS_B		0x06000020>;
	};

	/* Apalis TS_2 */
	pinctrl_lvds0_i2c0_gpio: lvds0i2c0gpiogrp {
		fsl,pins = <IMX8QM_LVDS0_I2C0_SCL_LSIO_GPIO1_IO06		0x00000021>;
	};

	/* Apalis LCD1_G6+7 */
	pinctrl_lvds1_i2c0_gpios: lvds1i2c0gpiosgrp {
		fsl,pins = /* Apalis LCD1_G6 */
			   <IMX8QM_LVDS1_I2C0_SCL_LSIO_GPIO1_IO12		0x00000021>,
			   /* Apalis LCD1_G7 */
			   <IMX8QM_LVDS1_I2C0_SDA_LSIO_GPIO1_IO13		0x00000021>;
	};

	/* Apalis TS_3 */
	pinctrl_mipi_dsi_0_1_en: mipidsi0-1engrp {
		fsl,pins = <IMX8QM_LVDS0_I2C0_SDA_LSIO_GPIO1_IO07		0x00000021>;
	};

	/* Apalis TS_4 */
	pinctrl_mipi_dsi1_gpios: mipidsi1gpiosgrp {
		fsl,pins = <IMX8QM_MIPI_DSI1_GPIO0_00_LSIO_GPIO1_IO22		0x00000021>;
	};

	/* Apalis TS_1 */
	pinctrl_mlb_gpios: mlbgpiosgrp {
		fsl,pins = <IMX8QM_MLB_CLK_LSIO_GPIO3_IO27			0x00000021>;
	};

	/* Apalis MMC1_CD# */
	pinctrl_mmc1_cd: mmc1cdgrp {
		fsl,pins = <IMX8QM_ESAI1_TX1_LSIO_GPIO2_IO09			0x00000021>;
	};

	pinctrl_mmc1_cd_sleep: mmc1cdsleepgrp {
		fsl,pins = <IMX8QM_ESAI1_TX1_LSIO_GPIO2_IO09			0x04000021>;
	};

	/* On-module PCIe_Wi-Fi */
	pinctrl_pcieb: pciebgrp {
		fsl,pins = <IMX8QM_PCIE_CTRL1_CLKREQ_B_LSIO_GPIO4_IO30		0x00000021>,
			   <IMX8QM_PCIE_CTRL1_WAKE_B_LSIO_GPIO4_IO31		0x00000021>,
			   <IMX8QM_PCIE_CTRL1_PERST_B_LSIO_GPIO5_IO00		0x00000021>;
	};

	/* On-module PCIe_CLK_EN1 */
	pinctrl_pcie_sata_refclk: pciesatarefclkgrp {
		fsl,pins = <IMX8QM_USDHC2_WP_LSIO_GPIO4_IO11			0x00000021>;
	};

	/* On-module PCIe_CLK_EN2 */
	pinctrl_pcie_wifi_refclk: pciewifirefclkgrp {
		fsl,pins = <IMX8QM_ESAI1_TX3_RX2_LSIO_GPIO2_IO11		0x00000021>;
	};

	/* Apalis PWM3 */
	pinctrl_pwm0: pwm0grp {
		fsl,pins = <IMX8QM_UART0_RTS_B_LSIO_PWM0_OUT			0x00000020>;
	};

	/* Apalis PWM4 */
	pinctrl_pwm1: pwm1grp {
		fsl,pins = <IMX8QM_UART0_CTS_B_LSIO_PWM1_OUT			0x00000020>;
	};

	/* Apalis PWM1 */
	pinctrl_pwm2: pwm2grp {
		fsl,pins = <IMX8QM_GPT1_COMPARE_LSIO_PWM2_OUT			0x00000020>;
	};

	/* Apalis PWM2 */
	pinctrl_pwm3: pwm3grp {
		fsl,pins = <IMX8QM_GPT0_COMPARE_LSIO_PWM3_OUT			0x00000020>;
	};

	/* Apalis BKL1_PWM */
	pinctrl_pwm_bkl: pwmbklgrp {
		fsl,pins = <IMX8QM_LVDS1_GPIO00_LVDS1_PWM0_OUT			0x00000020>;
	};

	/* Apalis LCD1_ */
	pinctrl_qspi1a_gpios: qspi1agpiosgrp {
		fsl,pins = /* Apalis LCD1_B0 */
			   <IMX8QM_QSPI1A_DATA0_LSIO_GPIO4_IO26			0x00000021>,
			   /* Apalis LCD1_B1 */
			   <IMX8QM_QSPI1A_DATA1_LSIO_GPIO4_IO25			0x00000021>,
			   /* Apalis LCD1_B2 */
			   <IMX8QM_QSPI1A_DATA2_LSIO_GPIO4_IO24			0x00000021>,
			   /* Apalis LCD1_B3 */
			   <IMX8QM_QSPI1A_DATA3_LSIO_GPIO4_IO23			0x00000021>,
			   /* Apalis LCD1_B5 */
			   <IMX8QM_QSPI1A_DQS_LSIO_GPIO4_IO22			0x00000021>,
			   /* Apalis LCD1_B7 */
			   <IMX8QM_QSPI1A_SCLK_LSIO_GPIO4_IO21			0x00000021>,
			   /* Apalis LCD1_B4 */
			   <IMX8QM_QSPI1A_SS0_B_LSIO_GPIO4_IO19			0x00000021>,
			   /* Apalis LCD1_B6 */
			   <IMX8QM_QSPI1A_SS1_B_LSIO_GPIO4_IO20			0x00000021>;
	};

	/* On-module RESET_MOCI#_DRV */
	pinctrl_reset_moci: resetmocigrp {
		fsl,pins = <IMX8QM_SCU_GPIO0_02_LSIO_GPIO0_IO30			0x00000021>;
	};

	/* On-module I2S SGTL5000 for Apalis Analogue Audio */
	pinctrl_sai1: sai1grp {
		fsl,pins = <IMX8QM_SAI1_TXD_AUD_SAI1_TXD			0xc600006c>,
			   <IMX8QM_SAI1_RXD_AUD_SAI1_RXD			0xc600004c>,
			   <IMX8QM_SAI1_TXC_AUD_SAI1_TXC			0xc600004c>,
			   <IMX8QM_SAI1_TXFS_AUD_SAI1_TXFS			0xc600004c>;
	};

	/* Apalis SATA1_ACT# */
	pinctrl_sata1_act: sata1actgrp {
		fsl,pins = <IMX8QM_ESAI1_TX0_LSIO_GPIO2_IO08			0x00000021>;
	};

	/* Apalis SD1_CD# */
	pinctrl_sd1_cd: sd1cdgrp {
		fsl,pins = <IMX8QM_USDHC2_CD_B_LSIO_GPIO4_IO12			0x00000021>;
	};

	/* On-module I2S SGTL5000 SYS_MCLK */
	pinctrl_sgtl5000: sgtl5000grp {
		fsl,pins = <IMX8QM_MCLK_OUT0_AUD_ACM_MCLK_OUT0			0xc600004c>;
	};

	/* Apalis LCD1_ */
	pinctrl_sim0_gpios: sim0gpiosgrp {
		fsl,pins = /* Apalis LCD1_G5 */
			   <IMX8QM_SIM0_CLK_LSIO_GPIO0_IO00			0x00000021>,
			   /* Apalis LCD1_G3 */
			   <IMX8QM_SIM0_GPIO0_00_LSIO_GPIO0_IO05		0x00000021>,
			   /* Apalis TS_5 */
			   <IMX8QM_SIM0_IO_LSIO_GPIO0_IO02			0x00000021>,
			   /* Apalis LCD1_G4 */
			   <IMX8QM_SIM0_RST_LSIO_GPIO0_IO01			0x00000021>;
	};

	/* Apalis SPDIF */
	pinctrl_spdif0: spdif0grp {
		fsl,pins = <IMX8QM_SPDIF0_TX_AUD_SPDIF0_TX			0xc6000040>,
			   <IMX8QM_SPDIF0_RX_AUD_SPDIF0_RX			0xc6000040>;
	};

	pinctrl_touchctrl_gpios: touchctrlgpiosgrp {
		fsl,pins = <IMX8QM_ESAI1_FSR_LSIO_GPIO2_IO04			0x00000021>,
			   <IMX8QM_ESAI1_FST_LSIO_GPIO2_IO05			0x00000041>,
			   <IMX8QM_SPI3_SCK_LSIO_GPIO2_IO17			0x00000021>,
			   <IMX8QM_SPI3_CS1_LSIO_GPIO2_IO21			0x00000041>;
	};

	pinctrl_touchctrl_idle: touchctrlidlegrp {
		fsl,pins = <IMX8QM_ADC_IN4_LSIO_GPIO3_IO22			0x00000021>,
			   <IMX8QM_ADC_IN5_LSIO_GPIO3_IO23			0x00000021>,
			   <IMX8QM_ADC_IN6_LSIO_GPIO3_IO24			0x00000021>,
			   <IMX8QM_ADC_IN7_LSIO_GPIO3_IO25			0x00000021>;
	};

	/* On-module USB HSIC HUB (active) */
	pinctrl_usb_hsic_active: usbh1activegrp {
		fsl,pins = <IMX8QM_USB_HSIC0_DATA_CONN_USB_HSIC0_DATA		0x000000cf>,
			   <IMX8QM_USB_HSIC0_STROBE_CONN_USB_HSIC0_STROBE	0x000000ff>;
	};

	/* On-module USB HSIC HUB (idle) */
	pinctrl_usb_hsic_idle: usbh1idlegrp {
		fsl,pins = <IMX8QM_USB_HSIC0_DATA_CONN_USB_HSIC0_DATA		0x000000cf>,
			   <IMX8QM_USB_HSIC0_STROBE_CONN_USB_HSIC0_STROBE	0x000000cf>;
	};

	/* On-module USB HSIC HUB */
	pinctrl_usb3503a: usb3503agrp {
		fsl,pins = /* On-module HSIC_HUB_CONNECT */
			   <IMX8QM_SCU_GPIO0_03_LSIO_GPIO0_IO31			0x00000041>,
			   /* On-module HSIC_INT_N */
			   <IMX8QM_SCU_GPIO0_05_LSIO_GPIO1_IO01			0x00000021>,
			   /* On-module HSIC_RESET_N */
			   <IMX8QM_SCU_GPIO0_06_LSIO_GPIO1_IO02			0x00000041>;
	};

	/* Apalis USBH_EN */
	pinctrl_usbh_en: usbhengrp {
		fsl,pins = <IMX8QM_USB_SS3_TC1_LSIO_GPIO4_IO04			0x00000021>;
	};

	/* Apalis USBO1 */
	pinctrl_usbotg1: usbotg1grp {
		fsl,pins = /* Apalis USBO1_EN */
			   <IMX8QM_USB_SS3_TC0_CONN_USB_OTG1_PWR		0x00000021>,
			   /* Apalis USBO1_OC# */
			   <IMX8QM_USB_SS3_TC2_CONN_USB_OTG1_OC			0x04000021>;
	};

	/* On-module eMMC */
	pinctrl_usdhc1: usdhc1grp {
		fsl,pins = <IMX8QM_EMMC0_CLK_CONN_EMMC0_CLK			0x06000041>,
			   <IMX8QM_EMMC0_CMD_CONN_EMMC0_CMD			0x00000021>,
			   <IMX8QM_EMMC0_DATA0_CONN_EMMC0_DATA0			0x00000021>,
			   <IMX8QM_EMMC0_DATA1_CONN_EMMC0_DATA1			0x00000021>,
			   <IMX8QM_EMMC0_DATA2_CONN_EMMC0_DATA2			0x00000021>,
			   <IMX8QM_EMMC0_DATA3_CONN_EMMC0_DATA3			0x00000021>,
			   <IMX8QM_EMMC0_DATA4_CONN_EMMC0_DATA4			0x00000021>,
			   <IMX8QM_EMMC0_DATA5_CONN_EMMC0_DATA5			0x00000021>,
			   <IMX8QM_EMMC0_DATA6_CONN_EMMC0_DATA6			0x00000021>,
			   <IMX8QM_EMMC0_DATA7_CONN_EMMC0_DATA7			0x00000021>,
			   <IMX8QM_EMMC0_STROBE_CONN_EMMC0_STROBE		0x06000041>,
			   <IMX8QM_EMMC0_RESET_B_CONN_EMMC0_RESET_B		0x00000021>;
	};

	pinctrl_usdhc1_100mhz: usdhc1-100mhzgrp {
		fsl,pins = <IMX8QM_EMMC0_CLK_CONN_EMMC0_CLK			0x06000040>,
			   <IMX8QM_EMMC0_CMD_CONN_EMMC0_CMD			0x00000020>,
			   <IMX8QM_EMMC0_DATA0_CONN_EMMC0_DATA0			0x00000020>,
			   <IMX8QM_EMMC0_DATA1_CONN_EMMC0_DATA1			0x00000020>,
			   <IMX8QM_EMMC0_DATA2_CONN_EMMC0_DATA2			0x00000020>,
			   <IMX8QM_EMMC0_DATA3_CONN_EMMC0_DATA3			0x00000020>,
			   <IMX8QM_EMMC0_DATA4_CONN_EMMC0_DATA4			0x00000020>,
			   <IMX8QM_EMMC0_DATA5_CONN_EMMC0_DATA5			0x00000020>,
			   <IMX8QM_EMMC0_DATA6_CONN_EMMC0_DATA6			0x00000020>,
			   <IMX8QM_EMMC0_DATA7_CONN_EMMC0_DATA7			0x00000020>,
			   <IMX8QM_EMMC0_STROBE_CONN_EMMC0_STROBE		0x06000040>,
			   <IMX8QM_EMMC0_RESET_B_CONN_EMMC0_RESET_B		0x00000020>;
	};

	pinctrl_usdhc1_200mhz: usdhc1-200mhzgrp {
		fsl,pins = <IMX8QM_EMMC0_CLK_CONN_EMMC0_CLK			0x06000040>,
			   <IMX8QM_EMMC0_CMD_CONN_EMMC0_CMD			0x00000020>,
			   <IMX8QM_EMMC0_DATA0_CONN_EMMC0_DATA0			0x00000020>,
			   <IMX8QM_EMMC0_DATA1_CONN_EMMC0_DATA1			0x00000020>,
			   <IMX8QM_EMMC0_DATA2_CONN_EMMC0_DATA2			0x00000020>,
			   <IMX8QM_EMMC0_DATA3_CONN_EMMC0_DATA3			0x00000020>,
			   <IMX8QM_EMMC0_DATA4_CONN_EMMC0_DATA4			0x00000020>,
			   <IMX8QM_EMMC0_DATA5_CONN_EMMC0_DATA5			0x00000020>,
			   <IMX8QM_EMMC0_DATA6_CONN_EMMC0_DATA6			0x00000020>,
			   <IMX8QM_EMMC0_DATA7_CONN_EMMC0_DATA7			0x00000020>,
			   <IMX8QM_EMMC0_STROBE_CONN_EMMC0_STROBE		0x06000040>,
			   <IMX8QM_EMMC0_RESET_B_CONN_EMMC0_RESET_B		0x00000020>;
	};

	/* Apalis TS_6 */
	pinctrl_usdhc1_gpios: usdhc1gpiosgrp {
		fsl,pins = <IMX8QM_USDHC1_STROBE_LSIO_GPIO5_IO23		0x00000021>;
	};

	/* Apalis MMC1 */
	pinctrl_usdhc2_4bit: usdhc2grp4bitgrp {
		fsl,pins = <IMX8QM_USDHC1_CLK_CONN_USDHC1_CLK			0x06000041>,
			   <IMX8QM_USDHC1_CMD_CONN_USDHC1_CMD			0x00000021>,
			   <IMX8QM_USDHC1_DATA0_CONN_USDHC1_DATA0		0x00000021>,
			   <IMX8QM_USDHC1_DATA1_CONN_USDHC1_DATA1		0x00000021>,
			   <IMX8QM_USDHC1_DATA2_CONN_USDHC1_DATA2		0x00000021>,
			   <IMX8QM_USDHC1_DATA3_CONN_USDHC1_DATA3		0x00000021>,
			   /* On-module PMIC use */
			   <IMX8QM_USDHC1_VSELECT_CONN_USDHC1_VSELECT		0x00000021>;
	};

	pinctrl_usdhc2_4bit_100mhz: usdhc2-4bit100mhzgrp {
		fsl,pins = <IMX8QM_USDHC1_CLK_CONN_USDHC1_CLK			0x06000040>,
			   <IMX8QM_USDHC1_CMD_CONN_USDHC1_CMD			0x00000020>,
			   <IMX8QM_USDHC1_DATA0_CONN_USDHC1_DATA0		0x00000020>,
			   <IMX8QM_USDHC1_DATA1_CONN_USDHC1_DATA1		0x00000020>,
			   <IMX8QM_USDHC1_DATA2_CONN_USDHC1_DATA2		0x00000020>,
			   <IMX8QM_USDHC1_DATA3_CONN_USDHC1_DATA3		0x00000020>,
			   /* On-module PMIC use */
			   <IMX8QM_USDHC1_VSELECT_CONN_USDHC1_VSELECT		0x00000021>;
	};

	pinctrl_usdhc2_4bit_200mhz: usdhc2-4bit200mhzgrp {
		fsl,pins = <IMX8QM_USDHC1_CLK_CONN_USDHC1_CLK			0x06000040>,
			   <IMX8QM_USDHC1_CMD_CONN_USDHC1_CMD			0x00000020>,
			   <IMX8QM_USDHC1_DATA0_CONN_USDHC1_DATA0		0x00000020>,
			   <IMX8QM_USDHC1_DATA1_CONN_USDHC1_DATA1		0x00000020>,
			   <IMX8QM_USDHC1_DATA2_CONN_USDHC1_DATA2		0x00000020>,
			   <IMX8QM_USDHC1_DATA3_CONN_USDHC1_DATA3		0x00000020>,
			   /* On-module PMIC use */
			   <IMX8QM_USDHC1_VSELECT_CONN_USDHC1_VSELECT		0x00000021>;
	};

	pinctrl_usdhc2_8bit: usdhc2grp8bitgrp {
		fsl,pins = <IMX8QM_USDHC1_DATA4_CONN_USDHC1_DATA4		0x00000021>,
			   <IMX8QM_USDHC1_DATA5_CONN_USDHC1_DATA5		0x00000021>,
			   <IMX8QM_USDHC1_DATA6_CONN_USDHC1_DATA6		0x00000021>,
			   <IMX8QM_USDHC1_DATA7_CONN_USDHC1_DATA7		0x00000021>;
	};

	pinctrl_usdhc2_8bit_100mhz: usdhc2-8bit100mhzgrp {
		fsl,pins = <IMX8QM_USDHC1_DATA4_CONN_USDHC1_DATA4		0x00000020>,
			   <IMX8QM_USDHC1_DATA5_CONN_USDHC1_DATA5		0x00000020>,
			   <IMX8QM_USDHC1_DATA6_CONN_USDHC1_DATA6		0x00000020>,
			   <IMX8QM_USDHC1_DATA7_CONN_USDHC1_DATA7		0x00000020>;
	};

	pinctrl_usdhc2_8bit_200mhz: usdhc2-8bit200mhzgrp {
		fsl,pins = <IMX8QM_USDHC1_DATA4_CONN_USDHC1_DATA4		0x00000020>,
			   <IMX8QM_USDHC1_DATA5_CONN_USDHC1_DATA5		0x00000020>,
			   <IMX8QM_USDHC1_DATA6_CONN_USDHC1_DATA6		0x00000020>,
			   <IMX8QM_USDHC1_DATA7_CONN_USDHC1_DATA7		0x00000020>;
	};

	pinctrl_usdhc2_4bit_sleep: usdhc2-4bitsleepgrp {
		fsl,pins = <IMX8QM_USDHC1_CLK_CONN_USDHC1_CLK			0x04000061>,
			   <IMX8QM_USDHC1_CMD_CONN_USDHC1_CMD			0x04000061>,
			   <IMX8QM_USDHC1_DATA0_CONN_USDHC1_DATA0		0x04000061>,
			   <IMX8QM_USDHC1_DATA1_CONN_USDHC1_DATA1		0x04000061>,
			   <IMX8QM_USDHC1_DATA2_CONN_USDHC1_DATA2		0x04000061>,
			   <IMX8QM_USDHC1_DATA3_CONN_USDHC1_DATA3		0x04000061>,
			   /* On-module PMIC use */
			   <IMX8QM_USDHC1_VSELECT_CONN_USDHC1_VSELECT		0x00000021>;
	};

	pinctrl_usdhc2_8bit_sleep: usdhc2-8bitsleepgrp {
		fsl,pins = <IMX8QM_USDHC1_DATA4_CONN_USDHC1_DATA4		0x04000061>,
			   <IMX8QM_USDHC1_DATA5_CONN_USDHC1_DATA5		0x04000061>,
			   <IMX8QM_USDHC1_DATA6_CONN_USDHC1_DATA6		0x04000061>,
			   <IMX8QM_USDHC1_DATA7_CONN_USDHC1_DATA7		0x04000061>;
	};

	/* Apalis SD1 */
	pinctrl_usdhc3: usdhc3grp {
		fsl,pins = <IMX8QM_USDHC2_CLK_CONN_USDHC2_CLK			0x06000041>,
			   <IMX8QM_USDHC2_CMD_CONN_USDHC2_CMD			0x00000021>,
			   <IMX8QM_USDHC2_DATA0_CONN_USDHC2_DATA0		0x00000021>,
			   <IMX8QM_USDHC2_DATA1_CONN_USDHC2_DATA1		0x00000021>,
			   <IMX8QM_USDHC2_DATA2_CONN_USDHC2_DATA2		0x00000021>,
			   <IMX8QM_USDHC2_DATA3_CONN_USDHC2_DATA3		0x00000021>,
			   /* On-module PMIC use */
			   <IMX8QM_USDHC2_VSELECT_CONN_USDHC2_VSELECT		0x00000021>;
	};

	pinctrl_usdhc3_100mhz: usdhc3-100mhzgrp {
		fsl,pins = <IMX8QM_USDHC2_CLK_CONN_USDHC2_CLK			0x06000041>,
			   <IMX8QM_USDHC2_CMD_CONN_USDHC2_CMD			0x00000021>,
			   <IMX8QM_USDHC2_DATA0_CONN_USDHC2_DATA0		0x00000021>,
			   <IMX8QM_USDHC2_DATA1_CONN_USDHC2_DATA1		0x00000021>,
			   <IMX8QM_USDHC2_DATA2_CONN_USDHC2_DATA2		0x00000021>,
			   <IMX8QM_USDHC2_DATA3_CONN_USDHC2_DATA3		0x00000021>,
			   /* On-module PMIC use */
			   <IMX8QM_USDHC2_VSELECT_CONN_USDHC2_VSELECT		0x00000021>;
	};

	pinctrl_usdhc3_200mhz: usdhc3-200mhzgrp {
		fsl,pins = <IMX8QM_USDHC2_CLK_CONN_USDHC2_CLK			0x06000041>,
			   <IMX8QM_USDHC2_CMD_CONN_USDHC2_CMD			0x00000021>,
			   <IMX8QM_USDHC2_DATA0_CONN_USDHC2_DATA0		0x00000021>,
			   <IMX8QM_USDHC2_DATA1_CONN_USDHC2_DATA1		0x00000021>,
			   <IMX8QM_USDHC2_DATA2_CONN_USDHC2_DATA2		0x00000021>,
			   <IMX8QM_USDHC2_DATA3_CONN_USDHC2_DATA3		0x00000021>,
			   /* On-module PMIC use */
			   <IMX8QM_USDHC2_VSELECT_CONN_USDHC2_VSELECT		0x00000021>;
	};

	/* On-module Wi-Fi */
	pinctrl_wifi: wifigrp {
		fsl,pins = /* On-module Wi-Fi_SUSCLK_32k */
			   <IMX8QM_SCU_GPIO0_07_SCU_DSC_RTC_CLOCK_OUTPUT_32K	0x06000021>,
			   /* On-module Wi-Fi_PCIE_W_DISABLE */
			   <IMX8QM_MIPI_CSI0_MCLK_OUT_LSIO_GPIO1_IO24		0x06000021>;
	};

	pinctrl_wifi_pdn: wifipdngrp {
		fsl,pins = /* On-module Wi-Fi_POWER_DOWN */
			   <IMX8QM_MIPI_CSI0_GPIO0_01_LSIO_GPIO1_IO28		0x06000021>;
	};
};
